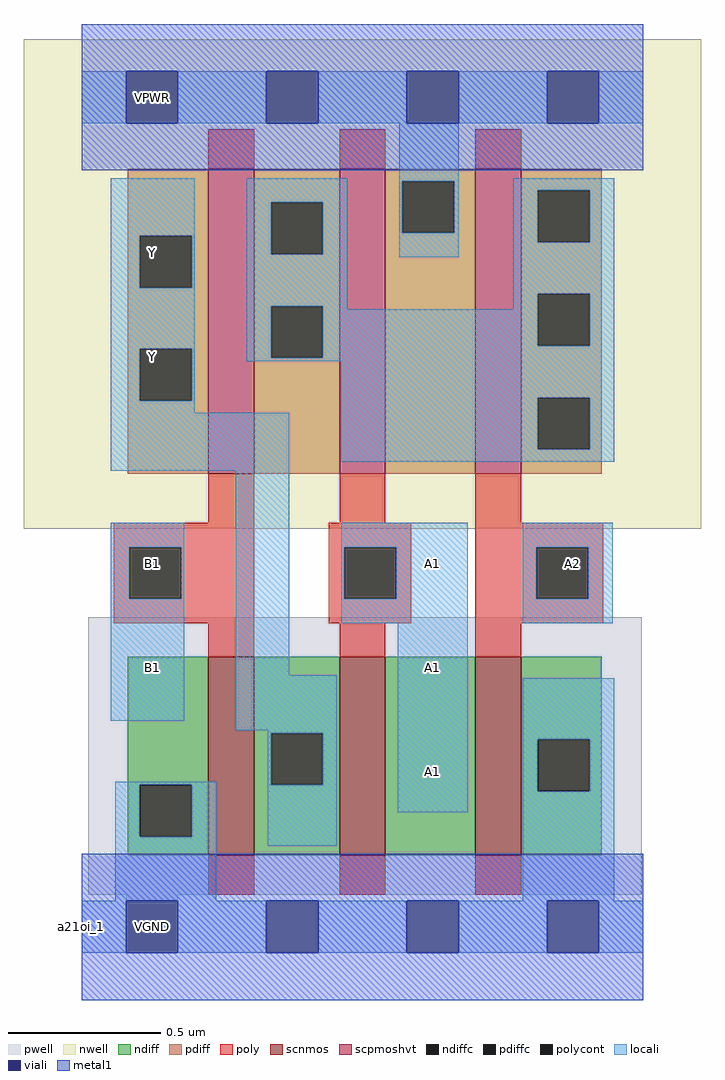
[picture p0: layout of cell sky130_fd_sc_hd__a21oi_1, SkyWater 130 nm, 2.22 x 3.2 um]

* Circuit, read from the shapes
.subckt sky130_fd_sc_hd__a21oi_1 VPWR VGND VPB VNB A2 A1 B1 Y
XM1 Y B1 VGND VNB sky130_fd_pr__nfet_01v8 w=0.65 l=0.15
XM2 n1 A1 Y VNB sky130_fd_pr__nfet_01v8 w=0.65 l=0.15
XM3 VGND A2 n1 VNB sky130_fd_pr__nfet_01v8 w=0.65 l=0.15
XM4 n2 B1 Y VPB sky130_fd_pr__pfet_01v8_hvt w=1 l=0.15
XM5 VPWR A1 n2 VPB sky130_fd_pr__pfet_01v8_hvt w=1 l=0.15
XM6 n2 A2 VPWR VPB sky130_fd_pr__pfet_01v8_hvt w=1 l=0.15
.ends

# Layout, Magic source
magic
tech sky130B
magscale 1 2
<< nwell >>
rect -38 221 406 542
<< pwell >>
rect 4 -19 367 163
rect 29 -57 63 -19
<< scnmos >>
rect 83 7 113 137
rect 169 7 199 137
rect 258 7 288 137
<< scpmoshvt >>
rect 83 257 113 457
rect 169 257 199 457
rect 258 257 288 457
<< ndiff >>
rect 30 53 83 137
rect 30 19 38 53
rect 72 19 83 53
rect 30 7 83 19
rect 113 87 169 137
rect 113 53 124 87
rect 158 53 169 87
rect 113 7 169 53
rect 199 7 258 137
rect 288 83 341 137
rect 288 49 299 83
rect 333 49 341 83
rect 288 7 341 49
<< pdiff >>
rect 30 413 83 457
rect 30 379 38 413
rect 72 379 83 413
rect 30 339 83 379
rect 30 305 38 339
rect 72 305 83 339
rect 30 257 83 305
rect 113 435 169 457
rect 113 401 124 435
rect 158 401 169 435
rect 113 367 169 401
rect 113 333 124 367
rect 158 333 169 367
rect 113 257 169 333
rect 199 449 258 457
rect 199 415 210 449
rect 244 415 258 449
rect 199 257 258 415
rect 288 443 341 457
rect 288 409 299 443
rect 333 409 341 443
rect 288 375 341 409
rect 288 341 299 375
rect 333 341 341 375
rect 288 307 341 341
rect 288 273 299 307
rect 333 273 341 307
rect 288 257 341 273
<< ndiffc >>
rect 38 19 72 53
rect 124 53 158 87
rect 299 49 333 83
<< pdiffc >>
rect 38 379 72 413
rect 38 305 72 339
rect 124 401 158 435
rect 124 333 158 367
rect 210 415 244 449
rect 299 409 333 443
rect 299 341 333 375
rect 299 273 333 307
<< poly >>
rect 83 457 113 483
rect 169 457 199 483
rect 258 457 288 483
rect 83 225 113 257
rect 169 225 199 257
rect 258 225 288 257
rect 21 209 113 225
rect 21 175 31 209
rect 65 175 113 209
rect 21 159 113 175
rect 162 209 216 225
rect 162 175 172 209
rect 206 175 216 209
rect 162 159 216 175
rect 258 209 342 225
rect 258 175 298 209
rect 332 175 342 209
rect 258 159 342 175
rect 83 137 113 159
rect 169 137 199 159
rect 258 137 288 159
rect 83 -19 113 7
rect 169 -19 199 7
rect 258 -19 288 7
<< polycont >>
rect 31 175 65 209
rect 172 175 206 209
rect 298 175 332 209
<< locali >>
rect 0 487 29 521
rect 63 487 121 521
rect 155 487 213 521
rect 247 487 305 521
rect 339 487 368 521
rect 19 413 74 451
rect 19 379 38 413
rect 72 379 74 413
rect 19 339 74 379
rect 19 305 38 339
rect 72 305 74 339
rect 108 435 174 451
rect 108 401 124 435
rect 158 401 174 435
rect 108 367 174 401
rect 208 449 247 487
rect 208 415 210 449
rect 244 415 247 449
rect 208 399 247 415
rect 283 443 349 451
rect 283 409 299 443
rect 333 409 349 443
rect 108 333 124 367
rect 158 365 174 367
rect 283 375 349 409
rect 283 365 299 375
rect 158 341 299 365
rect 333 341 349 375
rect 158 333 349 341
rect 108 331 349 333
rect 19 297 74 305
rect 170 307 349 331
rect 19 259 136 297
rect 170 273 299 307
rect 333 273 349 307
rect 170 265 349 273
rect 19 209 67 225
rect 19 175 31 209
rect 65 175 67 209
rect 19 95 67 175
rect 101 125 136 259
rect 170 209 253 225
rect 170 175 172 209
rect 206 175 253 209
rect 170 159 253 175
rect 289 209 348 225
rect 289 175 298 209
rect 332 175 348 209
rect 289 159 348 175
rect 101 89 167 125
rect 122 87 167 89
rect 22 53 88 55
rect 22 19 38 53
rect 72 19 88 53
rect 22 -23 88 19
rect 122 53 124 87
rect 158 53 167 87
rect 122 13 167 53
rect 207 35 253 159
rect 289 83 349 123
rect 289 49 299 83
rect 333 49 349 83
rect 289 -23 349 49
rect 0 -57 29 -23
rect 63 -57 121 -23
rect 155 -57 213 -23
rect 247 -57 305 -23
rect 339 -57 368 -23
<< viali >>
rect 29 487 63 521
rect 121 487 155 521
rect 213 487 247 521
rect 305 487 339 521
rect 29 -57 63 -23
rect 121 -57 155 -23
rect 213 -57 247 -23
rect 305 -57 339 -23
<< metal1 >>
rect 0 521 368 552
rect 0 487 29 521
rect 63 487 121 521
rect 155 487 213 521
rect 247 487 305 521
rect 339 487 368 521
rect 0 456 368 487
rect 0 -23 368 8
rect 0 -57 29 -23
rect 63 -57 121 -23
rect 155 -57 213 -23
rect 247 -57 305 -23
rect 339 -57 368 -23
rect 0 -88 368 -57
<< labels >>
rlabel comment s 0 -40 0 -40 4 a21oi_1
flabel metal1 s 29 487 63 521 0 FreeSans 200 0 0 0 VPWR
port 2 nsew
flabel metal1 s 29 -57 63 -23 0 FreeSans 200 0 0 0 VGND
port 3 nsew
flabel nwell s 29 487 63 521 0 FreeSans 200 0 0 0 VPB
port 5 nsew
flabel pwell s 29 -57 63 -23 0 FreeSans 200 0 0 0 VNB
port 6 nsew
flabel locali s 213 181 247 215 0 FreeSans 200 0 0 0 A1
port 8 nsew
flabel locali s 29 113 63 147 0 FreeSans 200 0 0 0 B1
port 9 nsew
flabel locali s 213 113 247 147 0 FreeSans 200 0 0 0 A1
port 8 nsew
flabel locali s 213 45 247 79 0 FreeSans 200 0 0 0 A1
port 8 nsew
flabel locali s 29 385 63 419 0 FreeSans 200 0 0 0 Y
port 10 nsew
flabel locali s 29 181 63 215 0 FreeSans 200 0 0 0 B1
port 9 nsew
flabel locali s 29 317 63 351 0 FreeSans 200 0 0 0 Y
port 10 nsew
flabel locali s 305 181 339 215 0 FreeSans 200 0 0 0 A2
port 7 nsew
<< properties >>
string FIXED_BBOX 0 -40 368 504
string path 0.000 12.600 9.200 12.600 
<< end >>
